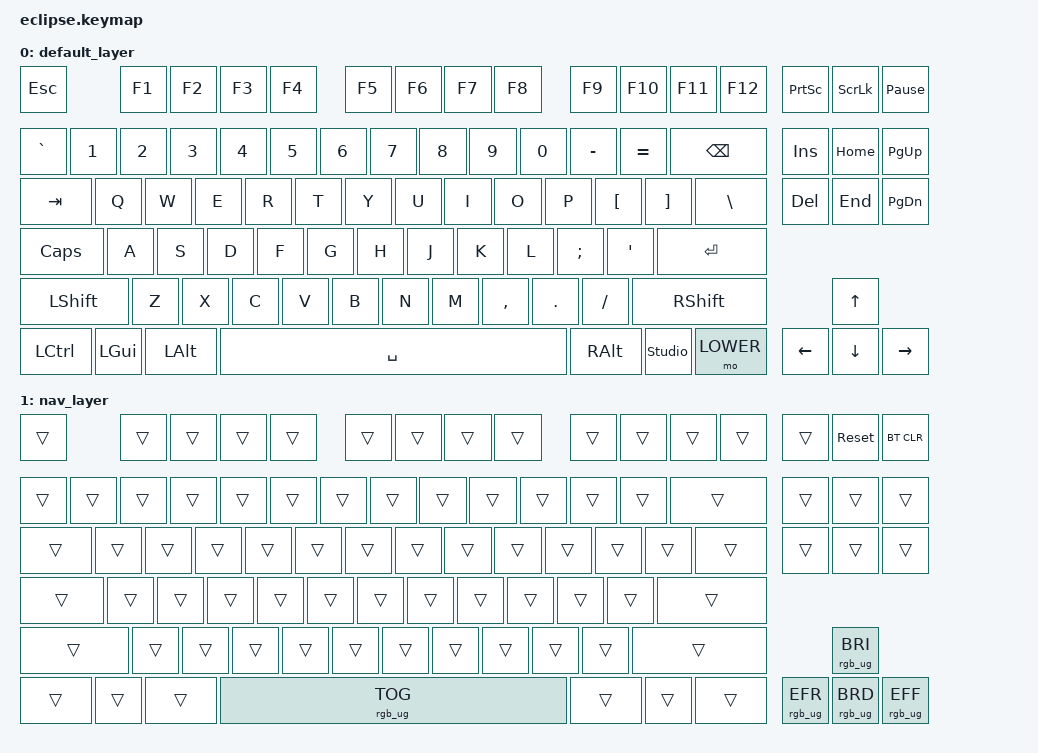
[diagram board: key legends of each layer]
/*
 * Copyright (c) 2023 The ZMK Contributors
 *
 * SPDX-License-Identifier: MIT
 */
#undef ZMK_BEHAVIORS_KEEP_ALL

#include <behaviors.dtsi>
#include <dt-bindings/zmk/keys.h>
#include <dt-bindings/zmk/rgb.h>
#include <dt-bindings/zmk/bt.h>
#include <dt-bindings/zmk/outputs.h>

#define LOWER 1

/ {
    keymap {
        compatible = "zmk,keymap";

        default_layer {
            bindings = <
    &kp ESC          &kp F1 &kp F2 &kp F3 &kp F4    &kp F5 &kp F6 &kp F7 &kp F8     &kp F9 &kp F10 &kp F11 &kp F12   &kp PSCRN &kp SLCK &kp PAUSE_BREAK
    &kp GRAVE &kp N1 &kp N2 &kp N3 &kp N4 &kp N5 &kp N6 &kp N7 &kp N8 &kp N9 &kp N0 &kp MINUS &kp EQUAL &kp BSPC     &kp INS   &kp HOME &kp PG_UP
    &kp TAB   &kp Q  &kp W  &kp E  &kp R  &kp T  &kp Y  &kp U  &kp I  &kp O  &kp P  &kp LBKT  &kp RBKT    &kp BSLH   &kp DEL   &kp END  &kp PG_DN    
    &kp CAPS  &kp A  &kp S  &kp D  &kp F  &kp G  &kp H  &kp J  &kp K  &kp L  &kp SEMI &kp SQT    &kp RET  
    &kp LSHIFT &kp Z &kp X &kp C &kp V &kp B &kp N &kp M &kp COMMA &kp DOT &kp FSLH           &kp RSHIFT                       &kp UP
    &kp LCTRL  &kp LGUI &kp LALT          &kp SPACE                        &kp RALT     &studio_unlock    &mo LOWER  &kp LEFT  &kp DOWN &kp RIGHT
            >;
        };

        nav_layer {
            bindings = <
    &trans &trans &trans &trans &trans &trans &trans &trans &trans &trans &trans &trans &trans          &trans &sys_reset &bt BT_CLR
    &trans &trans &trans &trans &trans &trans &trans &trans &trans &trans &trans &trans &trans &trans   &trans &trans &trans
    &trans &trans &trans &trans &trans &trans &trans &trans &trans &trans &trans &trans &trans &trans   &trans &trans &trans    
    &trans &trans &trans &trans &trans &trans &trans &trans &trans &trans &trans &trans &trans  
    &trans &trans &trans &trans &trans &trans &trans &trans &trans &trans &trans        &trans                          &rgb_ug RGB_BRI
    &trans &trans &trans          &rgb_ug RGB_TOG               &trans     &trans    &trans             &rgb_ug RGB_EFR &rgb_ug RGB_BRD &rgb_ug RGB_EFF
            >;
        };
    };
};
